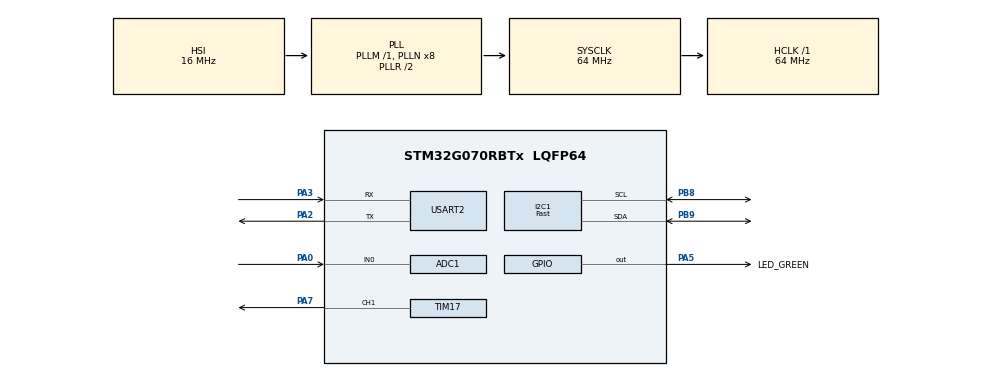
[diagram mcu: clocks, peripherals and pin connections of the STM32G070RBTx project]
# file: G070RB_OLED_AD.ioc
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ADC1.Channel-1\#ChannelRegularConversion=ADC_CHANNEL_0
ADC1.ClockPrescaler=ADC_CLOCK_SYNC_PCLK_DIV2
ADC1.ContinuousConvMode=ENABLE
ADC1.DMAContinuousRequests=DISABLE
ADC1.NbrOfConversion=1
ADC1.NbrOfConversionFlag=1
ADC1.Overrun=ADC_OVR_DATA_OVERWRITTEN
ADC1.Rank-1\#ChannelRegularConversion=1
ADC1.Resolution=ADC_RESOLUTION_6B
ADC1.SamplingTime-1\#ChannelRegularConversion=ADC_SAMPLINGTIME_COMMON_1
ADC1.SamplingTimeCommon1=ADC_SAMPLETIME_1CYCLE_5
ADC1.SamplingTimeCommon2=ADC_SAMPLETIME_1CYCLE_5
ADC1.SelectedChannel=ADC_CHANNEL_0
ADC1.Sequencer=FULLY_CONFIGURABLE
ADC1.master=1
I2C1.I2C_Speed_Mode=I2C_Fast
I2C1.Timing=0x00602173
Mcu.Family=STM32G0
Mcu.Name=STM32G070RBTx
Mcu.Package=LQFP64
NVIC.TIM16_IRQn=true\:0\:0\:false\:false\:true\:true\:true\:true
PA0.Mode=IN0
PA0.Signal=ADC1_IN0
PA13.GPIO_Label=TMS
PA13.Mode=Serial_Wire
PA13.Signal=SYS_SWDIO
PA14-BOOT0.GPIO_Label=TCK
PA14-BOOT0.Mode=Serial_Wire
PA14-BOOT0.Signal=SYS_SWCLK
PA2.GPIO_PuPd=GPIO_PULLUP
PA2.Mode=Asynchronous
PA2.Signal=USART2_TX
PA3.GPIO_PuPd=GPIO_PULLUP
PA3.Mode=Asynchronous
PA3.Signal=USART2_RX
PA5.GPIO_Label=LED_GREEN
PA5.GPIO_Speed=GPIO_SPEED_FREQ_HIGH
PA5.Signal=GPIO_Output
PA7.Signal=S_TIM17_CH1
PB8.Mode=I2C
PB8.Signal=I2C1_SCL
PB9.Mode=I2C
PB9.Signal=I2C1_SDA
PC13.Mode=SYS_WakeUp1
PC13.Signal=SYS_WKUP2
PC14-OSC32_IN\ (PC14).Mode=LSE-External-Oscillator
PC14-OSC32_IN\ (PC14).Signal=RCC_OSC32_IN
PC15-OSC32_OUT\ (PC15).Mode=LSE-External-Oscillator
PC15-OSC32_OUT\ (PC15).Signal=RCC_OSC32_OUT
PF0-OSC_IN\ (PF0).GPIO_Label=MCO
PF0-OSC_IN\ (PF0).Mode=HSE-External-Clock-Source
PF0-OSC_IN\ (PF0).Signal=RCC_OSC_IN
ProjectManager.HeapSize=0x200
ProjectManager.StackSize=0x400
ProjectManager.TargetToolchain=STM32CubeIDE
RCC.ADCFreq_Value=64000000
RCC.AHBFreq_Value=64000000
RCC.CortexFreq_Value=64000000
RCC.EXTERNAL_CLOCK_VALUE=12288000
RCC.HCLKFreq_Value=64000000
RCC.HSE_VALUE=8000000
RCC.HSI_VALUE=16000000
RCC.SYSCLKFreq_VALUE=64000000
RCC.SYSCLKSource=RCC_SYSCLKSOURCE_PLLCLK
RCC.VCOOutputFreq_Value=128000000
SH.S_TIM17_CH1.0=TIM17_CH1,Output Compare1 CH1
TIM16.AutoReloadPreload=TIM_AUTORELOAD_PRELOAD_ENABLE
TIM16.Period=9
TIM16.Prescaler=63
TIM17.AutoReloadPreload=TIM_AUTORELOAD_PRELOAD_ENABLE
TIM17.Channel=TIM_CHANNEL_1
TIM17.OC1Preload=ENABLE
TIM17.OCMode_1=TIM_OCMODE_TOGGLE
TIM17.Period=1000
TIM17.Prescaler=63999
TIM17.Pulse=500
USART2.VirtualMode-Asynchronous=VM_ASYNC
USART2.WordLength=WORDLENGTH_7B
VP_TIM16_VS_ClockSourceINT.Mode=Enable_Timer
VP_TIM17_VS_ClockSourceINT.Mode=Enable_Timer
board=NUCLEO-G070RB

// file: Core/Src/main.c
/* USER CODE BEGIN Header */
/**
  ******************************************************************************
  * @file           : main.c
  * @brief          : Main program body
  ******************************************************************************
  * @attention
  *
  * Copyright (c) 2023 STMicroelectronics.
  * All rights reserved.
  *
  * This software is licensed under terms that can be found in the LICENSE file
  * in the root directory of this software component.
  * If no LICENSE file comes with this software, it is provided AS-IS.
  *
  ******************************************************************************
  */
/* USER CODE END Header */
#include "main.h"

/* USER CODE BEGIN Includes */
#include <stdio.h>
#include "my_SSD1306.h"

/* USER CODE END Includes */

ADC_HandleTypeDef hadc1;

I2C_HandleTypeDef hi2c1;

TIM_HandleTypeDef htim16;
TIM_HandleTypeDef htim17;

UART_HandleTypeDef huart2;

/* USER CODE BEGIN PV */

volatile uint16_t ADC_result_buffer;

/* USER CODE END PV */

void SystemClock_Config(void);
static void MX_GPIO_Init(void);
static void MX_USART2_UART_Init(void);
static void MX_I2C1_Init(void);
static void MX_TIM17_Init(void);
static void MX_ADC1_Init(void);
static void MX_TIM16_Init(void);

/* USER CODE BEGIN 0 */
void HAL_TIM_PeriodElapsedCallback(TIM_HandleTypeDef *htim){

    if(htim == &htim16) {
        HAL_GPIO_TogglePin(GPIOA, GPIO_PIN_5);
        ADC_result_buffer=HAL_ADC_GetValue(&hadc1);
        }
}
/* USER CODE END 0 */

int main(void)
{
  /* USER CODE BEGIN 1 */
    setbuf(stdout, NULL);
  /* USER CODE END 1 */

  /* MCU Configuration--------------------------------------------------------*/

  /* Reset of all peripherals, Initializes the Flash interface and the Systick. */
  HAL_Init();

  /* Configure the system clock */
  SystemClock_Config();

  /* Initialize all configured peripherals */
  MX_GPIO_Init();
  MX_USART2_UART_Init();
  MX_I2C1_Init();
  MX_TIM17_Init();
  MX_ADC1_Init();
  MX_TIM16_Init();
  /* USER CODE BEGIN 2 */

  HAL_ADCEx_Calibration_Start(&hadc1);

  HAL_ADC_Start(&hadc1);
  //HAL_ADC_Start_DMA(&hadc1, (uint32_t *)&ADC_result_buffer, sizeof(ADC_result_buffer) / sizeof(ADC_result_buffer[0]));
  //HAL_ADC_Start_DMA(&hadc1, (uint32_t *)&ADC_result_buffer, 1);
  //hdma_adc1.Instance->CCR &= ~(DMA_IT_TC | DMA_IT_HT);
  //   __HAL_DMA_DISABLE_IT(&hdma_adc, DMA_IT_TC);
  //__HAL_DMA_DISABLE_IT(&hdma_adc1, DMA_IT_TC);

  HAL_TIM_Base_Start_IT(&htim16);

  HAL_TIM_PWM_Start(&htim17, TIM_CHANNEL_1);

	OLED_Init(&hi2c1);

	OLED_clear(); // and set cursor to 0,0
	//      12345678901234
	printf("Boot nucleo\n");
	printf("  G070RB");

	HAL_Delay(1000);

	OLED_clear(); // and set cursor to 0,0

  /* USER CODE END 2 */

  /* Infinite loop */
  while (1)
  {

    /* USER CODE BEGIN 3 */

	  /*
	  uint8_t data_buffer[128];
	  for(uint8_t c=0; c<128; c++) {
		  data_buffer[c]=HAL_ADC_GetValue(&hadc1);
	  }
	  */
	OLED_set_cursor(0, 2);
	//printf(" PA0 AD %d     ", HAL_ADC_GetValue(&hadc1));
	printf("PA7 -> PA0 AD %d   ", ADC_result_buffer);
	//HAL_GPIO_WritePin(GPIOA, GPIO_PIN_5, HAL_GPIO_ReadPin(GPIOA, GPIO_PIN_7));

  }
  /* USER CODE END 3 */
}

void SystemClock_Config(void)
{
  RCC_OscInitTypeDef RCC_OscInitStruct = {0};
  RCC_ClkInitTypeDef RCC_ClkInitStruct = {0};

  /** Configure the main internal regulator output voltage
  */
  HAL_PWREx_ControlVoltageScaling(PWR_REGULATOR_VOLTAGE_SCALE1);

  /** Initializes the RCC Oscillators according to the specified parameters
  * in the RCC_OscInitTypeDef structure.
  */
  RCC_OscInitStruct.OscillatorType = RCC_OSCILLATORTYPE_HSI;
  RCC_OscInitStruct.HSIState = RCC_HSI_ON;
  RCC_OscInitStruct.HSIDiv = RCC_HSI_DIV1;
  RCC_OscInitStruct.HSICalibrationValue = RCC_HSICALIBRATION_DEFAULT;
  RCC_OscInitStruct.PLL.PLLState = RCC_PLL_ON;
  RCC_OscInitStruct.PLL.PLLSource = RCC_PLLSOURCE_HSI;
  RCC_OscInitStruct.PLL.PLLM = RCC_PLLM_DIV1;
  RCC_OscInitStruct.PLL.PLLN = 8;
  RCC_OscInitStruct.PLL.PLLP = RCC_PLLP_DIV2;
  RCC_OscInitStruct.PLL.PLLR = RCC_PLLR_DIV2;
  if (HAL_RCC_OscConfig(&RCC_OscInitStruct) != HAL_OK)
  {
    Error_Handler();
  }

  /** Initializes the CPU, AHB and APB buses clocks
  */
  RCC_ClkInitStruct.ClockType = RCC_CLOCKTYPE_HCLK|RCC_CLOCKTYPE_SYSCLK
                              |RCC_CLOCKTYPE_PCLK1;
  RCC_ClkInitStruct.SYSCLKSource = RCC_SYSCLKSOURCE_PLLCLK;
  RCC_ClkInitStruct.AHBCLKDivider = RCC_SYSCLK_DIV1;
  RCC_ClkInitStruct.APB1CLKDivider = RCC_HCLK_DIV1;

  if (HAL_RCC_ClockConfig(&RCC_ClkInitStruct, FLASH_LATENCY_2) != HAL_OK)
  {
    Error_Handler();
  }
}

static void MX_ADC1_Init(void)
{

  ADC_ChannelConfTypeDef sConfig = {0};

  /** Configure the global features of the ADC (Clock, Resolution, Data Alignment and number of conversion)
  */
  hadc1.Instance = ADC1;
  hadc1.Init.ClockPrescaler = ADC_CLOCK_SYNC_PCLK_DIV2;
  hadc1.Init.Resolution = ADC_RESOLUTION_6B;
  hadc1.Init.DataAlign = ADC_DATAALIGN_RIGHT;
  hadc1.Init.ScanConvMode = ADC_SCAN_DISABLE;
  hadc1.Init.EOCSelection = ADC_EOC_SINGLE_CONV;
  hadc1.Init.LowPowerAutoWait = DISABLE;
  hadc1.Init.LowPowerAutoPowerOff = DISABLE;
  hadc1.Init.ContinuousConvMode = ENABLE;
  hadc1.Init.NbrOfConversion = 1;
  hadc1.Init.ExternalTrigConv = ADC_SOFTWARE_START;
  hadc1.Init.ExternalTrigConvEdge = ADC_EXTERNALTRIGCONVEDGE_NONE;
  hadc1.Init.DMAContinuousRequests = DISABLE;
  hadc1.Init.Overrun = ADC_OVR_DATA_OVERWRITTEN;
  hadc1.Init.SamplingTimeCommon1 = ADC_SAMPLETIME_1CYCLE_5;
  hadc1.Init.SamplingTimeCommon2 = ADC_SAMPLETIME_1CYCLE_5;
  hadc1.Init.OversamplingMode = DISABLE;
  hadc1.Init.TriggerFrequencyMode = ADC_TRIGGER_FREQ_HIGH;
  if (HAL_ADC_Init(&hadc1) != HAL_OK)
  {
    Error_Handler();
  }

  /** Configure Regular Channel
  */
  sConfig.Channel = ADC_CHANNEL_0;
  sConfig.Rank = ADC_REGULAR_RANK_1;
  sConfig.SamplingTime = ADC_SAMPLINGTIME_COMMON_1;
  if (HAL_ADC_ConfigChannel(&hadc1, &sConfig) != HAL_OK)
  {
    Error_Handler();
  }

}

static void MX_I2C1_Init(void)
{

  hi2c1.Instance = I2C1;
  hi2c1.Init.Timing = 0x00602173;
  hi2c1.Init.OwnAddress1 = 0;
  hi2c1.Init.AddressingMode = I2C_ADDRESSINGMODE_7BIT;
  hi2c1.Init.DualAddressMode = I2C_DUALADDRESS_DISABLE;
  hi2c1.Init.OwnAddress2 = 0;
  hi2c1.Init.OwnAddress2Masks = I2C_OA2_NOMASK;
  hi2c1.Init.GeneralCallMode = I2C_GENERALCALL_DISABLE;
  hi2c1.Init.NoStretchMode = I2C_NOSTRETCH_DISABLE;
  if (HAL_I2C_Init(&hi2c1) != HAL_OK)
  {
    Error_Handler();
  }

  /** Configure Analogue filter
  */
  if (HAL_I2CEx_ConfigAnalogFilter(&hi2c1, I2C_ANALOGFILTER_ENABLE) != HAL_OK)
  {
    Error_Handler();
  }

  /** Configure Digital filter
  */
  if (HAL_I2CEx_ConfigDigitalFilter(&hi2c1, 0) != HAL_OK)
  {
    Error_Handler();
  }

}

static void MX_TIM16_Init(void)
{

  htim16.Instance = TIM16;
  htim16.Init.Prescaler = 63;
  htim16.Init.CounterMode = TIM_COUNTERMODE_UP;
  htim16.Init.Period = 9;
  htim16.Init.ClockDivision = TIM_CLOCKDIVISION_DIV1;
  htim16.Init.RepetitionCounter = 0;
  htim16.Init.AutoReloadPreload = TIM_AUTORELOAD_PRELOAD_ENABLE;
  if (HAL_TIM_Base_Init(&htim16) != HAL_OK)
  {
    Error_Handler();
  }

}

static void MX_TIM17_Init(void)
{

  TIM_OC_InitTypeDef sConfigOC = {0};
  TIM_BreakDeadTimeConfigTypeDef sBreakDeadTimeConfig = {0};

  htim17.Instance = TIM17;
  htim17.Init.Prescaler = 63999;
  htim17.Init.CounterMode = TIM_COUNTERMODE_UP;
  htim17.Init.Period = 1000;
  htim17.Init.ClockDivision = TIM_CLOCKDIVISION_DIV1;
  htim17.Init.RepetitionCounter = 0;
  htim17.Init.AutoReloadPreload = TIM_AUTORELOAD_PRELOAD_ENABLE;
  if (HAL_TIM_Base_Init(&htim17) != HAL_OK)
  {
    Error_Handler();
  }
  if (HAL_TIM_OC_Init(&htim17) != HAL_OK)
  {
    Error_Handler();
  }
  sConfigOC.OCMode = TIM_OCMODE_TOGGLE;
  sConfigOC.Pulse = 500;
  sConfigOC.OCPolarity = TIM_OCPOLARITY_HIGH;
  sConfigOC.OCNPolarity = TIM_OCNPOLARITY_HIGH;
  sConfigOC.OCFastMode = TIM_OCFAST_DISABLE;
  sConfigOC.OCIdleState = TIM_OCIDLESTATE_RESET;
  sConfigOC.OCNIdleState = TIM_OCNIDLESTATE_RESET;
  if (HAL_TIM_OC_ConfigChannel(&htim17, &sConfigOC, TIM_CHANNEL_1) != HAL_OK)
  {
    Error_Handler();
  }
  __HAL_TIM_ENABLE_OCxPRELOAD(&htim17, TIM_CHANNEL_1);
  sBreakDeadTimeConfig.OffStateRunMode = TIM_OSSR_DISABLE;
  sBreakDeadTimeConfig.OffStateIDLEMode = TIM_OSSI_DISABLE;
  sBreakDeadTimeConfig.LockLevel = TIM_LOCKLEVEL_OFF;
  sBreakDeadTimeConfig.DeadTime = 0;
  sBreakDeadTimeConfig.BreakState = TIM_BREAK_DISABLE;
  sBreakDeadTimeConfig.BreakPolarity = TIM_BREAKPOLARITY_HIGH;
  sBreakDeadTimeConfig.BreakFilter = 0;
  sBreakDeadTimeConfig.AutomaticOutput = TIM_AUTOMATICOUTPUT_DISABLE;
  if (HAL_TIMEx_ConfigBreakDeadTime(&htim17, &sBreakDeadTimeConfig) != HAL_OK)
  {
    Error_Handler();
  }
  HAL_TIM_MspPostInit(&htim17);

}

static void MX_USART2_UART_Init(void)
{

  huart2.Instance = USART2;
  huart2.Init.BaudRate = 115200;
  huart2.Init.WordLength = UART_WORDLENGTH_7B;
  huart2.Init.StopBits = UART_STOPBITS_1;
  huart2.Init.Parity = UART_PARITY_NONE;
  huart2.Init.Mode = UART_MODE_TX_RX;
  huart2.Init.HwFlowCtl = UART_HWCONTROL_NONE;
  huart2.Init.OverSampling = UART_OVERSAMPLING_16;
  huart2.Init.OneBitSampling = UART_ONE_BIT_SAMPLE_DISABLE;
  huart2.Init.ClockPrescaler = UART_PRESCALER_DIV1;
  huart2.AdvancedInit.AdvFeatureInit = UART_ADVFEATURE_NO_INIT;
  if (HAL_UART_Init(&huart2) != HAL_OK)
  {
    Error_Handler();
  }
  if (HAL_UARTEx_SetTxFifoThreshold(&huart2, UART_TXFIFO_THRESHOLD_1_8) != HAL_OK)
  {
    Error_Handler();
  }
  if (HAL_UARTEx_SetRxFifoThreshold(&huart2, UART_RXFIFO_THRESHOLD_1_8) != HAL_OK)
  {
    Error_Handler();
  }
  if (HAL_UARTEx_DisableFifoMode(&huart2) != HAL_OK)
  {
    Error_Handler();
  }

}

static void MX_GPIO_Init(void)
{
  GPIO_InitTypeDef GPIO_InitStruct = {0};

  /* GPIO Ports Clock Enable */
  __HAL_RCC_GPIOC_CLK_ENABLE();
  __HAL_RCC_GPIOF_CLK_ENABLE();
  __HAL_RCC_GPIOA_CLK_ENABLE();
  __HAL_RCC_GPIOB_CLK_ENABLE();

  /*Configure GPIO pin Output Level */
  HAL_GPIO_WritePin(LED_GREEN_GPIO_Port, LED_GREEN_Pin, GPIO_PIN_RESET);

  /*Configure GPIO pin : LED_GREEN_Pin */
  GPIO_InitStruct.Pin = LED_GREEN_Pin;
  GPIO_InitStruct.Mode = GPIO_MODE_OUTPUT_PP;
  GPIO_InitStruct.Pull = GPIO_NOPULL;
  GPIO_InitStruct.Speed = GPIO_SPEED_FREQ_HIGH;
  HAL_GPIO_Init(LED_GREEN_GPIO_Port, &GPIO_InitStruct);

}

/* USER CODE BEGIN 4 */

// printf from
// https://yukblog.net/stm32cubeide-printf-uart/

int _write(int file, char *ptr, int len)
{
  //HAL_UART_Transmit(&huart2,(uint8_t *)ptr,len,10);
	for (int i=0; i<len; i++) {
		OLED_put_c(ptr[i]);
	}
  return len;
}

/* USER CODE END 4 */

void Error_Handler(void)
{
  __disable_irq();
  while (1)
  {
  }
}
